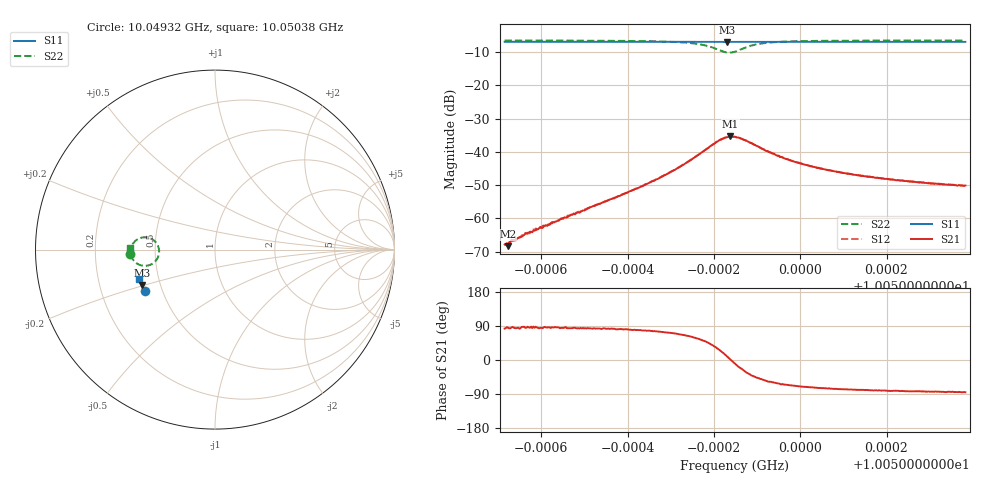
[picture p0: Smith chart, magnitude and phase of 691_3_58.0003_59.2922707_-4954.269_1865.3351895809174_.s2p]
#  HZ  S  RI  R  50.00
! Rohde & Schwarz Vector Network Analyzer
! Rohde-Schwarz,ZNB20-2Port,1311601062101988,3.16
! Created: UTC 3/21/2024, 1:21:17 AM
! freq[Hz]  re:S11  im:S11  re:S21  im:S21  re:S12  im:S12  re:S22  im:S22
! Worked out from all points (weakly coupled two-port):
!   401 points, 10.04932 GHz to 10.05038 GHz, reference 50 ohm
!   highest |S21| = -35.35 dB at 10.04984 GHz (marker M1); lowest = -68.4 dB at 10.04932 GHz (marker M2)
!   lowest |S11| = -6.9 dB at 10.04983 GHz (marker M3), VSWR 2.65, Z = 19.8 - j9.84 ohm
!   |S11| at or under -10 dB: nowhere
!   |S22| runs from -10.1 to -6.5 dB; largest |S21 - S12| = 0.0012
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1.0049315e10  -0.3921 -0.2294  5.02e-05 0.000403  1.96e-05 0.000396  -0.4739 -0.0251
1.0049323e10  -0.3923 -0.2288  3.3e-05 0.00038  1.41e-05 0.000403  -0.4738 -0.0244
1.0049331e10  -0.3926 -0.2283  3.52e-05 0.000478  1.13e-05 0.000457  -0.4738 -0.0236
1.0049369e10  -0.3938 -0.2261  2.42e-05 0.000606  1.59e-06 0.00059  -0.4737 -0.0197
1.0049382e10  -0.3943 -0.2252  2.09e-05 0.000656  4.62e-06 0.000681  -0.4734 -0.0183
1.0049449e10  -0.3964 -0.2214  8.99e-05 0.001  2.41e-05 0.000984  -0.4728 -0.0105
1.0049494e10  -0.3978 -0.2188  0.000152 0.00127  4.18e-05 0.00128  -0.4721 -0.00486
1.0049628e10  -0.4016 -0.2106  0.000556 0.00286  0.000443 0.0029  -0.4653 0.0187
1.0049673e10  -0.403 -0.2079  0.00105 0.00387  0.000848 0.00396  -0.4589 0.0307
1.0049724e10  -0.4042 -0.2046  0.00234 0.0056  0.00206 0.00578  -0.4435 0.049
1.0049764e10  -0.4052 -0.202  0.00499 0.00746  0.00461 0.00775  -0.4148 0.065
1.0049801e10  -0.4056 -0.1997  0.0108 0.00778  0.0103 0.00847  -0.3587 0.0621
1.004983e10  -0.4057 -0.1983  0.0164 0.00283  0.0161 0.00376  -0.313 0.00685
1.0049838e10  -0.4058 -0.1981  0.0171 0.000369  0.0167 0.0014  -0.3113 -0.0163
1.0049849e10  -0.4061 -0.1979  0.0167 -0.00279  0.0167 -0.00185  -0.3192 -0.0458
1.0049876e10  -0.4071 -0.1969  0.0123 -0.00804  0.0128 -0.00713  -0.3671 -0.087
1.0049913e10  -0.4087 -0.1948  0.00684 -0.00872  0.00731 -0.0083  -0.4216 -0.0846
1.0049966e10  -0.4105 -0.1917  0.0033 -0.00713  0.00377 -0.00696  -0.4531 -0.0613
1.0050028e10  -0.4124 -0.1878  0.00184 -0.00573  0.00219 -0.00562  -0.4655 -0.0411
1.0050105e10  -0.4145 -0.183  0.00106 -0.00463  0.00132 -0.0046  -0.4714 -0.0243
1.0050207e10  -0.4168 -0.1767  0.000589 -0.00382  0.000831 -0.0038  -0.474 -0.00908
1.0050383e10  -0.4211 -0.166  0.000261 -0.00311  0.000433 -0.00305  -0.4751 0.0101
